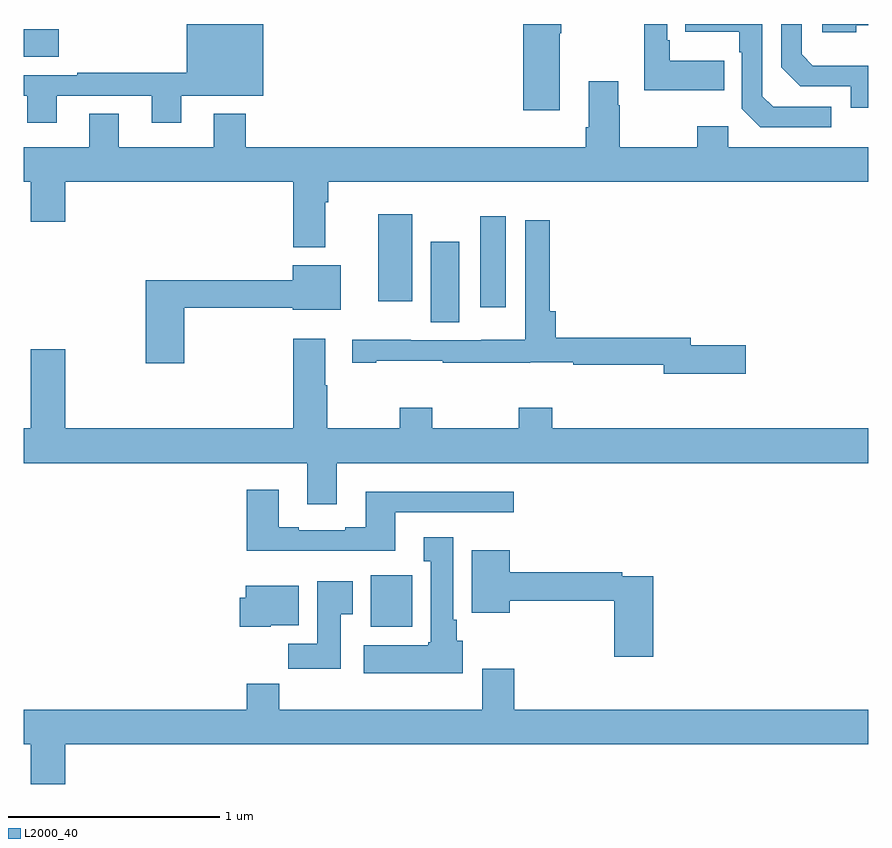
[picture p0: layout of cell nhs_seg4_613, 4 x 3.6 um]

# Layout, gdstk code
import gdstk
lib = gdstk.Library(unit=1e-6, precision=1e-09)
def R(c, l, rs):  # rectangles x0, y0, x1, y1
    for r in rs: c.add(gdstk.rectangle(r[:2], r[2:], *l))
def P(c, l, *ps):  # polygons
    for p in ps: c.add(gdstk.Polygon(p, *l))
L2000_40 = (2000, 40)

nhs_seg4_613 = lib.new_cell('nhs_seg4_613')
R(nhs_seg4_613, L2000_40, [(142.643,796.046,142.84,796.288), (142.928,797.488,143.062,797.869), (143.162,797.559,143.284,797.989), (142.679,797.586,142.84,797.998), (141,798.746,141.166,798.874)])
P(nhs_seg4_613, L2000_40, [(144.826,798.507),(144.549,798.507),(144.498,798.558),(144.498,798.9),(144.133,798.9),(144.133,798.863),(144.39,798.863),(144.39,798.767),(144.402,798.767),(144.402,798.498),(144.489,798.411),(144.826,798.411)],
  [(144.944,798.894),(145,798.894),(145,798.9),(144.783,798.9),(144.783,798.86),(144.944,798.86)],
  [(144.317,798.727),(144.061,798.727),(144.061,798.823),(144.048,798.823),(144.048,798.9),(143.94,798.9),(143.94,798.587),(144.317,798.587)],
  [(145,798.703),(144.737,798.703),(144.684,798.756),(144.684,798.9),(144.588,798.9),(144.588,798.696),(144.678,798.606),(144.918,798.606),(144.918,798.504),(145,798.504)],
  [(141.157,798.561),(141.605,798.561),(141.605,798.432),(141.745,798.432),(141.745,798.56),(142.135,798.56),(142.135,798.9),(141.773,798.9),(141.773,798.67),(141.253,798.67),(141.253,798.657),(141,798.657),(141,798.561),(141.017,798.561),(141.017,798.432),(141.157,798.432)],
  [(143.539,798.857),(143.547,798.857),(143.547,798.9),(143.366,798.9),(143.366,798.492),(143.539,798.492)],
  [(142.277,797.843),(142.429,797.843),(142.429,798.056),(142.442,798.056),(142.442,798.152),(145,798.152),(145,798.316),(144.336,798.316),(144.336,798.415),(144.19,798.415),(144.19,798.316),(143.823,798.316),(143.823,798.515),(143.815,798.515),(143.815,798.628),(143.675,798.628),(143.675,798.412),(143.663,798.412),(143.663,798.316),(142.052,798.316),(142.052,798.475),(141.899,798.475),(141.899,798.316),(141.451,798.316),(141.451,798.476),(141.311,798.476),(141.311,798.316),(141,798.316),(141,798.152),(141.032,798.152),(141.032,797.964),(141.196,797.964),(141.196,798.152),(142.277,798.152)],
  [(144.421,797.378),(144.16,797.378),(144.16,797.414),(143.519,797.414),(143.519,797.539),(143.492,797.539),(143.492,797.971),(143.376,797.971),(143.376,797.404),(143.166,797.404),(143.166,797.403),(142.832,797.403),(142.832,797.405),(142.557,797.405),(142.557,797.295),(142.669,797.295),(142.669,797.305),(142.985,797.305),(142.985,797.295),(143.4,797.295),(143.4,797.297),(143.602,797.297),(143.602,797.286),(144.032,797.286),(144.032,797.243),(144.421,797.243)],
  [(141.761,797.557),(142.274,797.557),(142.274,797.546),(142.501,797.546),(142.501,797.758),(142.274,797.758),(142.274,797.686),(141.578,797.686),(141.578,797.292),(141.761,797.292)],
  [(145,796.984),(143.504,796.984),(143.504,797.083),(143.344,797.083),(143.344,796.984),(142.935,796.984),(142.935,797.083),(142.78,797.083),(142.78,796.984),(142.437,796.984),(142.437,797.189),(142.429,797.189),(142.429,797.41),(142.277,797.41),(142.277,796.984),(141.196,796.984),(141.196,797.359),(141.032,797.359),(141.032,796.984),(141,796.984),(141,796.82),(142.343,796.82),(142.343,796.626),(142.483,796.626),(142.483,796.82),(145,796.82)],
  [(142.759,796.587),(143.32,796.587),(143.32,796.684),(142.619,796.684),(142.619,796.516),(142.523,796.516),(142.523,796.503),(142.303,796.503),(142.303,796.516),(142.207,796.516),(142.207,796.693),(142.055,796.693),(142.055,796.406),(142.759,796.406)],
  [(143.08,795.978),(143.05,795.978),(143.05,796.078),(143.035,796.078),(143.035,796.468),(142.895,796.468),(142.895,796.355),(142.928,796.355),(142.928,795.972),(142.915,795.972),(142.915,795.958),(142.611,795.958),(142.611,795.824),(143.08,795.824)],
  [(143.981,796.284),(143.834,796.284),(143.834,796.304),(143.302,796.304),(143.302,796.408),(143.123,796.408),(143.123,796.112),(143.302,796.112),(143.302,796.168),(143.798,796.168),(143.798,795.903),(143.981,795.903)],
  [(142.501,796.105),(142.558,796.105),(142.558,796.261),(142.391,796.261),(142.391,795.964),(142.252,795.964),(142.252,795.846),(142.501,795.846)],
  [(142.17,796.052),(142.303,796.052),(142.303,796.24),(142.052,796.24),(142.052,796.182),(142.022,796.182),(142.022,796.046),(142.17,796.046)],
  [(141.196,795.488),(145,795.488),(145,795.652),(143.324,795.652),(143.324,795.847),(143.171,795.847),(143.171,795.652),(142.211,795.652),(142.211,795.776),(142.055,795.776),(142.055,795.652),(141,795.652),(141,795.488),(141.032,795.488),(141.032,795.3),(141.196,795.3)])

lib.write_gds('nhs_seg4_613.gds')
